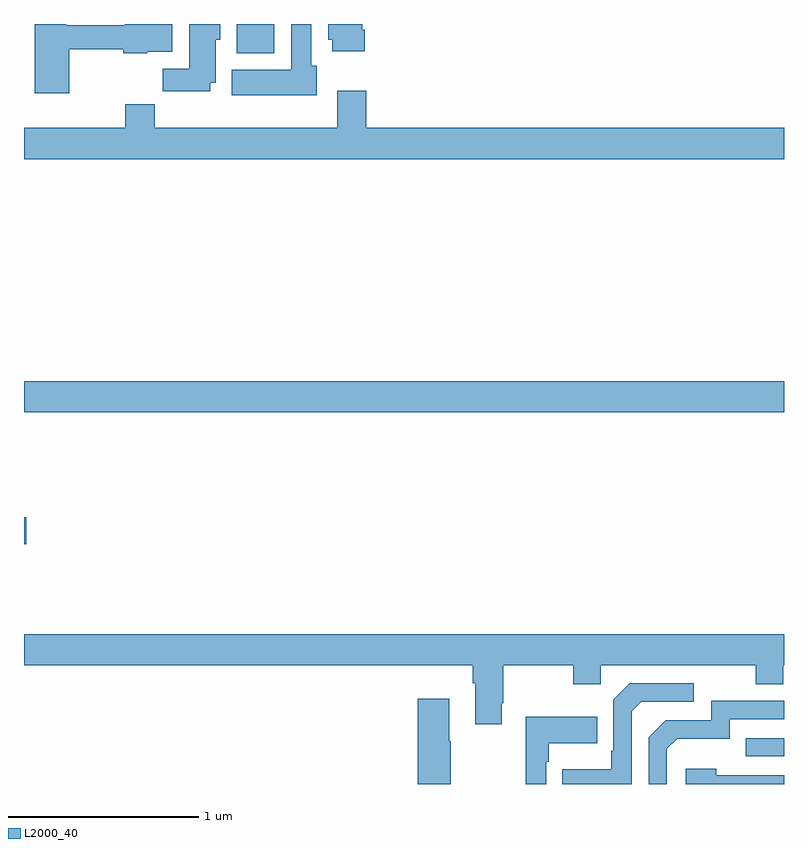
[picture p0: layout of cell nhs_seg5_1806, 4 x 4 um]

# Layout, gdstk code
import gdstk
lib = gdstk.Library(unit=1e-6, precision=1e-09)
def R(c, l, rs):  # rectangles x0, y0, x1, y1
    for r in rs: c.add(gdstk.rectangle(r[:2], r[2:], *l))
def P(c, l, *ps):  # polygons
    for p in ps: c.add(gdstk.Polygon(p, *l))
L2000_40 = (2000, 40)

nhs_seg5_1806 = lib.new_cell('nhs_seg5_1806')
R(nhs_seg5_1806, L2000_40, [(222.799,858.945,223,859.041), (219,860.062,219.013,860.204), (219,860.756,223,860.92), (220.121,862.646,220.318,862.799)])
P(nhs_seg5_1806, L2000_40, [(219.239,862.665),(219.523,862.665),(219.523,862.646),(219.648,862.646),(219.648,862.652),(219.781,862.652),(219.781,862.799),(219.53,862.799),(219.53,862.793),(219.222,862.793),(219.222,862.799),(219.056,862.799),(219.056,862.434),(219.239,862.434)],
  [(219.979,862.49),(220.009,862.49),(220.009,862.716),(220.033,862.716),(220.033,862.799),(219.869,862.799),(219.869,862.564),(219.73,862.564),(219.73,862.446),(219.979,862.446)],
  [(220.793,862.768),(220.78,862.768),(220.78,862.799),(220.601,862.799),(220.601,862.716),(220.622,862.716),(220.622,862.656),(220.793,862.656)],
  [(220.54,862.578),(220.513,862.578),(220.513,862.799),(220.406,862.799),(220.406,862.558),(220.094,862.558),(220.094,862.424),(220.54,862.424)],
  [(223,862.252),(220.802,862.252),(220.802,862.447),(220.649,862.447),(220.649,862.252),(219.689,862.252),(219.689,862.376),(219.533,862.376),(219.533,862.252),(219,862.252),(219,862.088),(223,862.088)],
  [(221.515,859.225),(221.523,859.225),(221.523,859.424),(221.89,859.424),(221.89,859.325),(222.036,859.325),(222.036,859.424),(222.85,859.424),(222.85,859.325),(222.997,859.325),(222.997,859.424),(223,859.424),(223,859.588),(219,859.588),(219,859.424),(221.363,859.424),(221.363,859.328),(221.375,859.328),(221.375,859.113),(221.515,859.113)],
  [(222.198,859.182),(222.249,859.233),(222.526,859.233),(222.526,859.329),(222.189,859.329),(222.102,859.242),(222.102,858.973),(222.09,858.973),(222.09,858.877),(221.833,858.877),(221.833,858.799),(222.198,858.799)],
  [(221.247,859.025),(221.239,859.025),(221.239,859.249),(221.072,859.249),(221.072,858.799),(221.247,858.799)],
  [(222.384,858.984),(222.437,859.037),(222.714,859.037),(222.714,859.14),(223,859.14),(223,859.236),(222.618,859.236),(222.618,859.134),(222.378,859.134),(222.288,859.044),(222.288,858.799),(222.384,858.799)],
  [(221.748,858.917),(221.761,858.917),(221.761,859.013),(222.017,859.013),(222.017,859.153),(221.64,859.153),(221.64,858.799),(221.748,858.799)],
  [(223,858.846),(222.644,858.846),(222.644,858.88),(222.483,858.88),(222.483,858.799),(223,858.799)])

lib.write_gds('nhs_seg5_1806.gds')
